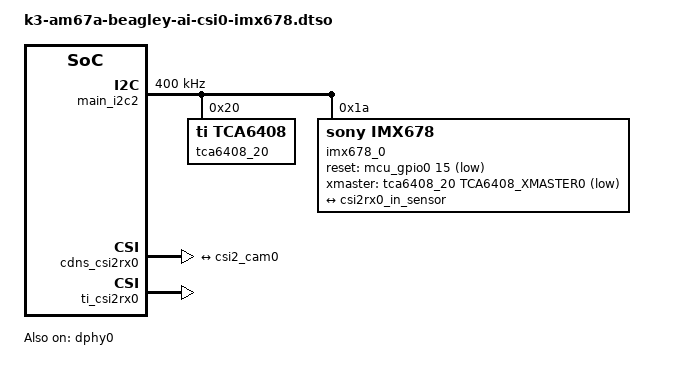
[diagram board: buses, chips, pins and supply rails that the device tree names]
// SPDX-License-Identifier: GPL-2.0-only OR MIT
/*
 * DT Overlay for IMX678 on BeagleY-AI board.
 */

/dts-v1/;
/plugin/;

#include <dt-bindings/gpio/gpio.h>

#define TCA6408_PW_EN_0 	0
#define TCA6408_PW_EN_1 	1
#define TCA6408_RST_0 		2
#define TCA6408_XMASTER0 	3
#define TCA6408_SLAMODE0 	4
#define TCA6408_SLAMODE1 	5
#define TCA6408_SLAMODE2 	6
#define TCA6408_TENABLE 	7

&{/chosen} {
	overlays {
		k3-am67a-beagley-ai-csi0-imx678.kernel = __TIMESTAMP__;
	};
};

&main_i2c2 {
	status = "okay";
	pinctrl-names = "default";
	pinctrl-0 = <&main_i2c2_pins_default>;
	clock-frequency = <400000>;

	#address-cells = <1>;
	#size-cells = <0>;

	// Framos adapter has GPIO expander for extra control
	tca6408_20: tca6408@20 {
		compatible = "ti,tca6408";
		gpio-controller;
		#gpio-cells = <2>;
		reg = <0x20>;
		status = "okay";
	};

	imx678_0: sensor@1a {
		compatible = "sony,imx678";
		reg = <0x1a>;
		status = "okay";

		reset-gpios = <&mcu_gpio0 15 GPIO_ACTIVE_LOW>;
		xmaster-gpio = <&tca6408_20 TCA6408_XMASTER0 GPIO_ACTIVE_LOW>;

		port {
			csi2_cam0: endpoint {
				remote-endpoint = <&csi2rx0_in_sensor>;
				clock-lanes = <0>;
				data-lanes = <1 2 3 4>; // Note: imx219 uses 2
				clock-noncontinuous; // Note: Not set for imx219
				link-frequencies =
					/bits/ 64 <720000000 594000000 445500000>;
					// Note: Differs from 456000000 for imx219
			};
		};
	};
};

&cdns_csi2rx0 {
	ports {
		#address-cells = <1>;
		#size-cells = <0>;

		csi0_port0: port@0 {
			reg = <0>;
			status = "okay";

			csi2rx0_in_sensor: endpoint {
				remote-endpoint = <&csi2_cam0>;
				bus-type = <4>; /* CSI2 DPHY */ // Note: Left out (guessed) for imx219
				clock-lanes = <0>;
				data-lanes = <1 2 3 4>;
				clock-noncontinuous;
			};
		};
	};
};

&ti_csi2rx0 {
	status = "okay";
};

&dphy0 {
	status = "okay";
};
